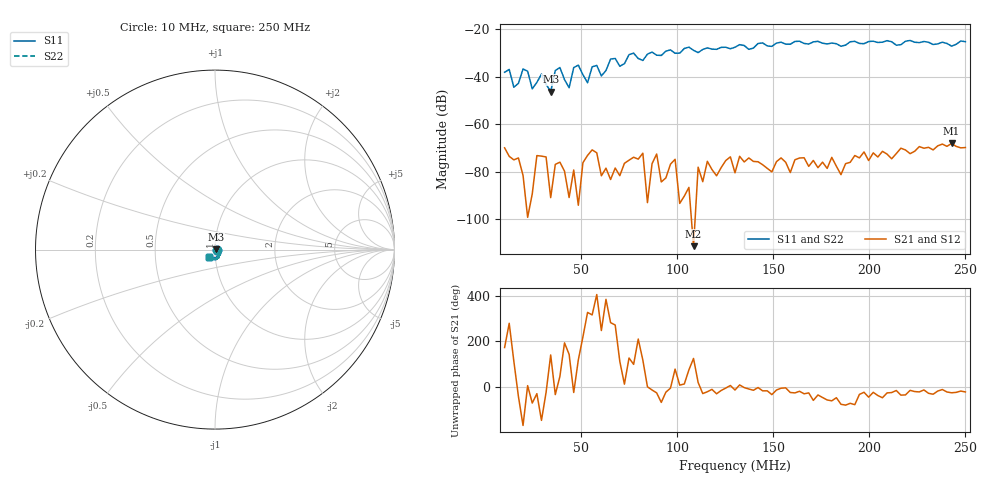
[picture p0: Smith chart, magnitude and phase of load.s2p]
# Hz S RI R 50
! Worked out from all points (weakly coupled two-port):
!   101 points, 10 MHz to 250 MHz, reference 50 ohm
!   highest |S21| = -68.15 dB at 242.8 MHz (marker M1); lowest = -111.4 dB at 108.4 MHz (marker M2)
!   lowest |S11| = -46.3 dB at 34 MHz (marker M3), VSWR 1.01, Z = 50.4 + j0.252 ohm
!   |S11| at or under -10 dB: start of sweep to end of sweep
!   |S22| runs from -46.3 to -24.8 dB; largest |S21 - S12| = 0
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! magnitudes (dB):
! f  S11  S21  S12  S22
! 10 MHz  -38.2  -70.0  -70.0  -38.2
! 19.6 MHz  -36.8  -81.6  -81.6  -36.8
! 34 MHz  -46.3  -91.0  -91.0  -46.3
! 38.8 MHz  -36.2  -76.0  -76.0  -36.2
! 43.6 MHz  -44.7  -90.9  -90.9  -44.7
! 46 MHz  -36.2  -79.3  -79.3  -36.2
! 50.8 MHz  -39.2  -76.2  -76.2  -39.2
! 55.6 MHz  -35.9  -70.9  -70.9  -35.9
! 60.4 MHz  -39.7  -81.8  -81.8  -39.7
! 70 MHz  -35.6  -81.7  -81.7  -35.6
! 82 MHz  -33.2  -72.3  -72.3  -33.2
! 84.4 MHz  -30.5  -93.1  -93.1  -30.5
! 89.2 MHz  -31.0  -72.6  -72.6  -31.0
! 91.6 MHz  -31.1  -84.4  -84.4  -31.1
! 108.4 MHz  -28.9  -111.4  -111.4  -28.9
! 127.6 MHz  -28.3  -73.8  -73.8  -28.3
! 130 MHz  -27.6  -80.5  -80.5  -27.6
! 132.4 MHz  -26.5  -73.6  -73.6  -26.5
! 170.8 MHz  -25.4  -75.3  -75.3  -25.4
! 211.6 MHz  -25.3  -74.6  -74.6  -25.3
! 242.8 MHz  -27.2  -68.2  -68.2  -27.2
! 250 MHz  -25.3  -69.9  -69.9  -25.3
